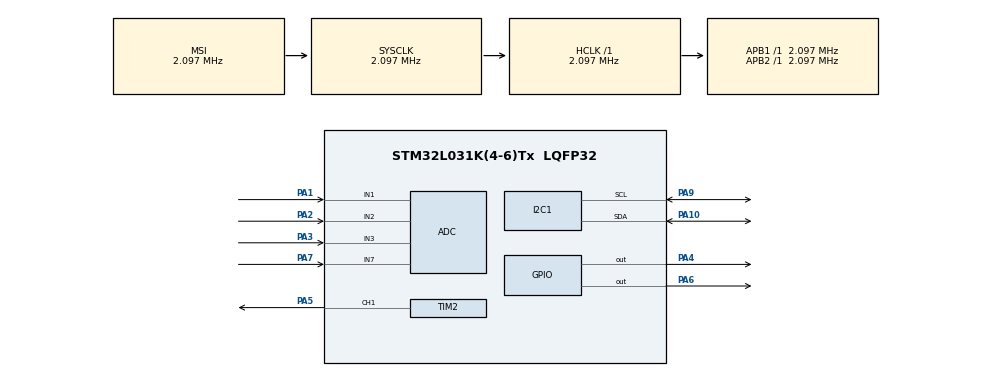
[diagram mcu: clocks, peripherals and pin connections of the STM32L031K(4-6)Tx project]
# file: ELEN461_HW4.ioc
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ADC.SamplingTime=ADC_SAMPLETIME_3CYCLES_5
Dma.ADC.0.Direction=DMA_PERIPH_TO_MEMORY
Dma.ADC.0.Instance=DMA1_Channel1
Dma.ADC.0.MemDataAlignment=DMA_MDATAALIGN_HALFWORD
Dma.ADC.0.MemInc=DMA_MINC_ENABLE
Dma.ADC.0.Mode=DMA_CIRCULAR
Dma.ADC.0.PeriphDataAlignment=DMA_PDATAALIGN_HALFWORD
Dma.ADC.0.PeriphInc=DMA_PINC_DISABLE
Dma.ADC.0.Priority=DMA_PRIORITY_LOW
Dma.Request0=ADC
Mcu.Family=STM32L0
Mcu.Name=STM32L031K(4-6)Tx
Mcu.Package=LQFP32
NVIC.ADC1_COMP_IRQn=true\:0\:0\:false\:false\:true\:true\:true
NVIC.DMA1_Channel1_IRQn=true\:0\:0\:false\:false\:true\:false\:true
PA1.Mode=IN1
PA1.Signal=ADC_IN1
PA10.Mode=I2C
PA10.Signal=I2C1_SDA
PA2.Mode=IN2
PA2.Signal=ADC_IN2
PA3.Mode=IN3
PA3.Signal=ADC_IN3
PA4.GPIO_PuPd=GPIO_PULLDOWN
PA4.Signal=GPIO_Output
PA5.Signal=S_TIM2_CH1
PA6.GPIO_PuPd=GPIO_PULLDOWN
PA6.Signal=GPIO_Output
PA7.Mode=IN7
PA7.Signal=ADC_IN7
PA9.Mode=I2C
PA9.Signal=I2C1_SCL
ProjectManager.HeapSize=0x200
ProjectManager.StackSize=0x400
ProjectManager.TargetToolchain=EWARM V8.32
RCC.AHBFreq_Value=2097000
RCC.APB1Freq_Value=2097000
RCC.APB1TimFreq_Value=2097000
RCC.APB2Freq_Value=2097000
RCC.APB2TimFreq_Value=2097000
RCC.HSE_VALUE=8000000
RCC.HSI16_VALUE=16000000
RCC.HSI_VALUE=16000000
RCC.LSE_VALUE=32768
RCC.MSI_VALUE=2097000
RCC.SYSCLKFreq_VALUE=2097000
RCC.VCOOutputFreq_Value=48000000
SH.S_TIM2_CH1.0=TIM2_CH1,PWM Generation1 CH1
TIM2.Channel-PWM\ Generation1\ CH1=TIM_CHANNEL_1
board=custom

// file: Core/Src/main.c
/* USER CODE BEGIN Header */
/**
  ******************************************************************************
  * @file           : main.c
  * @brief          : Main program body
  ******************************************************************************
  * @attention
  *
  * <h2><center>&copy; Copyright (c) 2022 STMicroelectronics.
  * All rights reserved.</center></h2>
  *
  * This software component is licensed by ST under BSD 3-Clause license,
  * the "License"; You may not use this file except in compliance with the
  * License. You may obtain a copy of the License at:
  *                        opensource.org/licenses/BSD-3-Clause
  *
  ******************************************************************************
  */
/* USER CODE END Header */
#include "main.h"

/* USER CODE BEGIN Includes */
#include "fonts.h"
#include "ssd1306.h"
#include "ux_manager.h"
/* USER CODE END Includes */

/* USER CODE BEGIN PD */
#define ADC_BUFFER_SIZE         100
#define ADC_INDEX_TEMP          2
#define ADC_INDEX_LOW           0
#define ADC_INDEX_MID           3
#define ADC_INDEX_HIGH          1
#define LOGIC_T1_BUFF_SIZE      50
#define LOGIC_T2_BUFF_SIZE      50
#define LOGIC_T3_BUFF_SIZE      50
#define LOGIC_T1_PIN            GPIOA, GPIO_PIN_12
#define LOGIC_T2_PIN            GPIOB, GPIO_PIN_0
#define LOGIC_T3_PIN            GPIOB, GPIO_PIN_7
#define LOGIC_HEATER_PIN        GPIOA, GPIO_PIN_5
#define LOGIC_GREEN_PIN         GPIOA, GPIO_PIN_4
#define LOGIC_RED_PIN           GPIOA, GPIO_PIN_6
#define HEATER_OFF_STATE              0
#define HEATER_ON_STATE               1
#define HEATER_RANGE            20      // Range of temperature chamber in F
#define ERROR_BUFF_SIZE         2
#define SAMPLE_INTERVAL         0.025   // Time in seconds between error captures
/* USER CODE END PD */

ADC_HandleTypeDef hadc;
DMA_HandleTypeDef hdma_adc;

I2C_HandleTypeDef hi2c1;

TIM_HandleTypeDef htim2;

/* USER CODE BEGIN PV */
// Scheduler Variables
extern uint8_t ten_mS_Flag;
extern uint8_t twentyfive_mS_Flag;
extern uint8_t hundred_mS_Flag;
extern uint8_t one_S_Flag;
extern uint8_t five_hundred_mS_Flag;

// ADC Variables
const uint8_t gain = 2;
uint16_t adcValue[4];
uint16_t adcBuffer[ADC_BUFFER_SIZE];
uint16_t adcAvg;
float tempInC;
float tempF;
float voltageInmV;

// Controller
uint8_t inputs;
uint8_t t1;
uint8_t t2;
uint8_t t3;
uint8_t heaterState;
uint8_t greenOutput;
uint8_t redOutput;
uint8_t initialFlag;

uint16_t t1Buffer[LOGIC_T1_BUFF_SIZE];
uint16_t t2Buffer[LOGIC_T2_BUFF_SIZE];
uint16_t t3Buffer[LOGIC_T3_BUFF_SIZE];
uint16_t t1Avg;
uint16_t t2Avg;
uint16_t t3Avg;
uint32_t HeaterPWMDuty;
float tempThreshLowF;
float tempDesired;
float tempThreshHighF;
float tempError;
float tempErrorLast;
float errorBuff[ERROR_BUFF_SIZE];
const float kp = 2.0;
const float ki = 0.05;
const float kd = 2.0;
const float kff = 1.5;
float proportional;
float integral;
float differentiator;
float sum;
float feedforward;

// Display Varaibles
DWfloat temperature = {"%4.1f ", "----", 0, 0, true, 25.0};
DWfloat tempThreshLow = {"%4.1f ", "----", 0, 0, true, 25.0};
DWfloat tempThreshMid = {"%4.1f ", "----", 0, 0, true, 25.0};
DWfloat tempThreshHigh = {"%4.1f ", "----", 0, 0, true, 25.0};
DWstring units = {"%s", "----", 0, 0, true, "DegC"};
uint8_t unitChoices[2][5] = {"DegF", "DegC"};

/* USER CODE END PV */

void SystemClock_Config(void);
static void MX_GPIO_Init(void);
static void MX_DMA_Init(void);
static void MX_ADC_Init(void);
static void MX_I2C1_Init(void);
static void MX_TIM2_Init(void);
/* USER CODE BEGIN PFP */
void Update_TempC(void);
void Update_ADCBuff(uint16_t value);
float Calc_Temp_Thresh(uint16_t adcCounts);
float Calc_Temp_Thresh_Low(uint16_t adcCounts);
float Calc_Temp_Thresh_High(uint16_t adcCounts);
void Update_T1_Buff(uint16_t value);
void Update_T2_Buff(uint16_t value);
void Update_T3_Buff(uint16_t value);
void Update_T1_Avg(void);
void Update_T2_Avg(void);
void Update_T3_Avg(void);
void Heater_Calc_Duty(float temp);
void Heater_Set_Duty(uint32_t counts);
void Update_Error_Buff(float error);
void Update_Error_Controller(void);
/* USER CODE END PFP */

int main(void)
{

  /* MCU Configuration--------------------------------------------------------*/

  /* Reset of all peripherals, Initializes the Flash interface and the Systick. */
  HAL_Init();

  /* Configure the system clock */
  SystemClock_Config();

  /* Initialize all configured peripherals */
  MX_GPIO_Init();
  MX_DMA_Init();
  MX_ADC_Init();
  MX_I2C1_Init();
  MX_TIM2_Init();
  /* USER CODE BEGIN 2 */

  SSD1306_Init();  // initialise

  adcBuffer[0] = 0;
  adcBuffer[1] = 0;
  adcBuffer[2] = 0;

  // Start PWM Timer
  HAL_TIM_PWM_Start_IT(&htim2, TIM_CHANNEL_1);

  // Splash Screen
  SSD1306_Clear();
  SSD1306_GotoXY (0,0);
  SSD1306_Puts ("Welcome to", &Font_11x18, SSD1306_COLOR_WHITE);
  SSD1306_GotoXY (0,20);
  SSD1306_Puts ("The Thermal", &Font_11x18, SSD1306_COLOR_WHITE);
  SSD1306_GotoXY (0,40);
  SSD1306_Puts ("Chamber!", &Font_11x18, SSD1306_COLOR_WHITE);
  SSD1306_UpdateScreen();

  HAL_Delay (3000);

  SwitchScreens(HOME);

  /* USER CODE END 2 */

  /* Infinite loop */
  /* USER CODE BEGIN WHILE */
  while (1)
  {

    // 10 ms scheduler
    if(ten_mS_Flag) {
      ten_mS_Flag = false;

      // Update Threshold buffers
      Update_T1_Buff(adcValue[ADC_INDEX_LOW]);
      Update_T2_Buff(adcValue[ADC_INDEX_MID]);
      Update_T3_Buff(adcValue[ADC_INDEX_HIGH]);

      // Update output variables
      heaterState = (!t2)*(!t3)*(!((!heaterState)*(t1)));
      greenOutput = !t1;
      redOutput = t3;

    }

    // 25 ms scheduler
    if(twentyfive_mS_Flag) {
      twentyfive_mS_Flag = false;

      // Check thresholds
      t1 = (tempF > tempThreshLowF);
      t2 = (tempF > tempDesired);
      t3 = (tempF > tempThreshHighF);
      //inputs = (t3 << 2) | (t2 << 1) | (t1 << 0);

      // Don't start heater until temp spike on startup winds down
      if(heaterState) {initialFlag = true;}
      if(initialFlag) {
      // Update PWM duty
        Heater_Calc_Duty(sum);
        // Set PWM duty cycle
        Heater_Set_Duty(HeaterPWMDuty);
      }

      // Update output pins
      // Heater output

      /*
      if(heaterState) {
        // Update PWM duty
        Heater_Calc_Duty(sum);
        // Set PWM duty cycle
        Heater_Set_Duty(HeaterPWMDuty);
      }
      else {
        Heater_Set_Duty(0);
      }

      // Red output
      if(redOutput) {
        HAL_GPIO_WritePin(LOGIC_RED_PIN, GPIO_PIN_SET);
      }
      else {
        HAL_GPIO_WritePin(LOGIC_RED_PIN, GPIO_PIN_RESET);
      }

      // Green output
      if(greenOutput) {
        HAL_GPIO_WritePin(LOGIC_GREEN_PIN, GPIO_PIN_SET);
      }
      else {
        HAL_GPIO_WritePin(LOGIC_GREEN_PIN, GPIO_PIN_RESET);
      }
      */
    }

    // 100 ms scheduler

    if(hundred_mS_Flag) {
      hundred_mS_Flag = false;

      // Update Temp value in C
      Update_TempC();

      // convert temp to F
      tempF = tempInC*(9.0/5.0) + 32.0;
      temperature.data = tempF;

      // Update error and sum
      tempErrorLast = tempError;
      tempError = tempDesired - tempF;
      Update_Error_Controller();
    }

    // 500 ms scheduler
    if(five_hundred_mS_Flag){
      five_hundred_mS_Flag = false;

      // Change units to F
      units.data[3] = 'F';

      // Update threshold values
      Update_T1_Avg();
      Update_T2_Avg();
      Update_T3_Avg();
      tempThreshLowF = Calc_Temp_Thresh_Low(t1Avg);
      tempThreshLow.data = tempThreshLowF;
      tempDesired = Calc_Temp_Thresh(t2Avg);
      tempThreshMid.data = tempDesired;
      tempThreshHighF = Calc_Temp_Thresh_High(t3Avg);
      tempThreshHigh.data = tempThreshHighF;

      // Update display;
      UpdateScreenValues();
    }

    // 1 second scheduler
    if(one_S_Flag) {
      one_S_Flag = false;

    }

    // Every loop

    // Read ADC and update buffer
      HAL_ADC_Start_DMA(&hadc, (uint32_t *) adcValue, 4);
      Update_ADCBuff(adcValue[ADC_INDEX_TEMP]);

    /* USER CODE END WHILE */

  }
}

void SystemClock_Config(void)
{
  RCC_OscInitTypeDef RCC_OscInitStruct = {0};
  RCC_ClkInitTypeDef RCC_ClkInitStruct = {0};
  RCC_PeriphCLKInitTypeDef PeriphClkInit = {0};

  /** Configure the main internal regulator output voltage
  */
  __HAL_PWR_VOLTAGESCALING_CONFIG(PWR_REGULATOR_VOLTAGE_SCALE1);
  /** Initializes the RCC Oscillators according to the specified parameters
  * in the RCC_OscInitTypeDef structure.
  */
  RCC_OscInitStruct.OscillatorType = RCC_OSCILLATORTYPE_MSI;
  RCC_OscInitStruct.MSIState = RCC_MSI_ON;
  RCC_OscInitStruct.MSICalibrationValue = 0;
  RCC_OscInitStruct.MSIClockRange = RCC_MSIRANGE_5;
  RCC_OscInitStruct.PLL.PLLState = RCC_PLL_NONE;
  if (HAL_RCC_OscConfig(&RCC_OscInitStruct) != HAL_OK)
  {
    Error_Handler();
  }
  /** Initializes the CPU, AHB and APB buses clocks
  */
  RCC_ClkInitStruct.ClockType = RCC_CLOCKTYPE_HCLK|RCC_CLOCKTYPE_SYSCLK
                              |RCC_CLOCKTYPE_PCLK1|RCC_CLOCKTYPE_PCLK2;
  RCC_ClkInitStruct.SYSCLKSource = RCC_SYSCLKSOURCE_MSI;
  RCC_ClkInitStruct.AHBCLKDivider = RCC_SYSCLK_DIV1;
  RCC_ClkInitStruct.APB1CLKDivider = RCC_HCLK_DIV1;
  RCC_ClkInitStruct.APB2CLKDivider = RCC_HCLK_DIV1;

  if (HAL_RCC_ClockConfig(&RCC_ClkInitStruct, FLASH_LATENCY_0) != HAL_OK)
  {
    Error_Handler();
  }
  PeriphClkInit.PeriphClockSelection = RCC_PERIPHCLK_I2C1;
  PeriphClkInit.I2c1ClockSelection = RCC_I2C1CLKSOURCE_PCLK1;
  if (HAL_RCCEx_PeriphCLKConfig(&PeriphClkInit) != HAL_OK)
  {
    Error_Handler();
  }
}

static void MX_ADC_Init(void)
{

  ADC_ChannelConfTypeDef sConfig = {0};

  /** Configure the global features of the ADC (Clock, Resolution, Data Alignment and number of conversion)
  */
  hadc.Instance = ADC1;
  hadc.Init.OversamplingMode = DISABLE;
  hadc.Init.ClockPrescaler = ADC_CLOCK_SYNC_PCLK_DIV1;
  hadc.Init.Resolution = ADC_RESOLUTION_12B;
  hadc.Init.SamplingTime = ADC_SAMPLETIME_3CYCLES_5;
  hadc.Init.ScanConvMode = ADC_SCAN_DIRECTION_FORWARD;
  hadc.Init.DataAlign = ADC_DATAALIGN_RIGHT;
  hadc.Init.ContinuousConvMode = DISABLE;
  hadc.Init.DiscontinuousConvMode = DISABLE;
  hadc.Init.ExternalTrigConvEdge = ADC_EXTERNALTRIGCONVEDGE_NONE;
  hadc.Init.ExternalTrigConv = ADC_SOFTWARE_START;
  hadc.Init.DMAContinuousRequests = DISABLE;
  hadc.Init.EOCSelection = ADC_EOC_SINGLE_CONV;
  hadc.Init.Overrun = ADC_OVR_DATA_PRESERVED;
  hadc.Init.LowPowerAutoWait = DISABLE;
  hadc.Init.LowPowerFrequencyMode = ENABLE;
  hadc.Init.LowPowerAutoPowerOff = DISABLE;
  if (HAL_ADC_Init(&hadc) != HAL_OK)
  {
    Error_Handler();
  }
  /** Configure for the selected ADC regular channel to be converted.
  */
  sConfig.Channel = ADC_CHANNEL_1;
  sConfig.Rank = ADC_RANK_CHANNEL_NUMBER;
  if (HAL_ADC_ConfigChannel(&hadc, &sConfig) != HAL_OK)
  {
    Error_Handler();
  }
  /** Configure for the selected ADC regular channel to be converted.
  */
  sConfig.Channel = ADC_CHANNEL_2;
  if (HAL_ADC_ConfigChannel(&hadc, &sConfig) != HAL_OK)
  {
    Error_Handler();
  }
  /** Configure for the selected ADC regular channel to be converted.
  */
  sConfig.Channel = ADC_CHANNEL_3;
  if (HAL_ADC_ConfigChannel(&hadc, &sConfig) != HAL_OK)
  {
    Error_Handler();
  }
  /** Configure for the selected ADC regular channel to be converted.
  */
  sConfig.Channel = ADC_CHANNEL_7;
  if (HAL_ADC_ConfigChannel(&hadc, &sConfig) != HAL_OK)
  {
    Error_Handler();
  }

}

static void MX_I2C1_Init(void)
{

  hi2c1.Instance = I2C1;
  hi2c1.Init.Timing = 0x00000708;
  hi2c1.Init.OwnAddress1 = 0;
  hi2c1.Init.AddressingMode = I2C_ADDRESSINGMODE_7BIT;
  hi2c1.Init.DualAddressMode = I2C_DUALADDRESS_DISABLE;
  hi2c1.Init.OwnAddress2 = 0;
  hi2c1.Init.OwnAddress2Masks = I2C_OA2_NOMASK;
  hi2c1.Init.GeneralCallMode = I2C_GENERALCALL_DISABLE;
  hi2c1.Init.NoStretchMode = I2C_NOSTRETCH_DISABLE;
  if (HAL_I2C_Init(&hi2c1) != HAL_OK)
  {
    Error_Handler();
  }
  /** Configure Analogue filter
  */
  if (HAL_I2CEx_ConfigAnalogFilter(&hi2c1, I2C_ANALOGFILTER_ENABLE) != HAL_OK)
  {
    Error_Handler();
  }
  /** Configure Digital filter
  */
  if (HAL_I2CEx_ConfigDigitalFilter(&hi2c1, 0) != HAL_OK)
  {
    Error_Handler();
  }

}

static void MX_TIM2_Init(void)
{

  TIM_MasterConfigTypeDef sMasterConfig = {0};
  TIM_OC_InitTypeDef sConfigOC = {0};

  htim2.Instance = TIM2;
  htim2.Init.Prescaler = 0;
  htim2.Init.CounterMode = TIM_COUNTERMODE_UP;
  htim2.Init.Period = 65535;
  htim2.Init.ClockDivision = TIM_CLOCKDIVISION_DIV1;
  htim2.Init.AutoReloadPreload = TIM_AUTORELOAD_PRELOAD_DISABLE;
  if (HAL_TIM_PWM_Init(&htim2) != HAL_OK)
  {
    Error_Handler();
  }
  sMasterConfig.MasterOutputTrigger = TIM_TRGO_RESET;
  sMasterConfig.MasterSlaveMode = TIM_MASTERSLAVEMODE_DISABLE;
  if (HAL_TIMEx_MasterConfigSynchronization(&htim2, &sMasterConfig) != HAL_OK)
  {
    Error_Handler();
  }
  sConfigOC.OCMode = TIM_OCMODE_PWM1;
  sConfigOC.Pulse = 0;
  sConfigOC.OCPolarity = TIM_OCPOLARITY_HIGH;
  sConfigOC.OCFastMode = TIM_OCFAST_DISABLE;
  if (HAL_TIM_PWM_ConfigChannel(&htim2, &sConfigOC, TIM_CHANNEL_1) != HAL_OK)
  {
    Error_Handler();
  }
  HAL_TIM_MspPostInit(&htim2);

}

static void MX_DMA_Init(void)
{

  /* DMA controller clock enable */
  __HAL_RCC_DMA1_CLK_ENABLE();

  /* DMA interrupt init */
  /* DMA1_Channel1_IRQn interrupt configuration */
  HAL_NVIC_SetPriority(DMA1_Channel1_IRQn, 0, 0);
  HAL_NVIC_EnableIRQ(DMA1_Channel1_IRQn);

}

static void MX_GPIO_Init(void)
{
  GPIO_InitTypeDef GPIO_InitStruct = {0};

  /* GPIO Ports Clock Enable */
  __HAL_RCC_GPIOA_CLK_ENABLE();

  /*Configure GPIO pin Output Level */
  HAL_GPIO_WritePin(GPIOA, GPIO_PIN_4|GPIO_PIN_5|GPIO_PIN_6, GPIO_PIN_RESET);

  /*Configure GPIO pins : PA4 PA5 PA6 */
  GPIO_InitStruct.Pin = GPIO_PIN_4|GPIO_PIN_5|GPIO_PIN_6;
  GPIO_InitStruct.Mode = GPIO_MODE_OUTPUT_PP;
  GPIO_InitStruct.Pull = GPIO_PULLDOWN;
  GPIO_InitStruct.Speed = GPIO_SPEED_FREQ_LOW;
  HAL_GPIO_Init(GPIOA, &GPIO_InitStruct);

}

/* USER CODE BEGIN 4 */
void Update_ADCBuff(uint16_t value){

  // Shift values of the buffer
  for(uint8_t i = 1; i < ADC_BUFFER_SIZE; i++) {
    adcBuffer[i-1] = adcBuffer[i];
  }

  // Place new value at end of ADC buffer;
  adcBuffer[ADC_BUFFER_SIZE-1] = value;
}

void Update_TempC(void) {
  uint32_t temp;
  for(uint8_t i = 0; i < ADC_BUFFER_SIZE; i++) {
    temp += adcBuffer[i];
  }
  adcAvg = temp / ADC_BUFFER_SIZE;

  voltageInmV = (adcAvg/4096.0)*3300.0;

  // Based on 0C-100C range
  tempInC = (voltageInmV-1567.0)/(-8.2);

}

float Calc_Temp_Thresh(uint16_t adcCounts) {

  return ((adcCounts/4096.0)*60.0)+60.0;
}

float Calc_Temp_Thresh_Low(uint16_t adcCounts) {

  return tempDesired - ((adcCounts/4096.0)*10.0);
}

float Calc_Temp_Thresh_High(uint16_t adcCounts) {

  return tempDesired + ((adcCounts/4096.0)*10.0);
}

void Update_T1_Buff(uint16_t value){

  // Shift values of the buffer
  for(uint8_t i = 1; i < LOGIC_T1_BUFF_SIZE; i++) {
    t1Buffer[i-1] = t1Buffer[i];
  }

  // Place new value at end of buffer;
  t1Buffer[LOGIC_T1_BUFF_SIZE-1] = value;
}

void Update_T2_Buff(uint16_t value){

  // Shift values of the buffer
  for(uint8_t i = 1; i < LOGIC_T2_BUFF_SIZE; i++) {
    t2Buffer[i-1] = t2Buffer[i];
  }

  // Place new value at end of buffer;
  t2Buffer[LOGIC_T2_BUFF_SIZE-1] = value;
}

void Update_T3_Buff(uint16_t value){

  // Shift values of the buffer
  for(uint8_t i = 1; i < LOGIC_T3_BUFF_SIZE; i++) {
    t3Buffer[i-1] = t3Buffer[i];
  }

  // Place new value at end of buffer;
  t3Buffer[LOGIC_T3_BUFF_SIZE-1] = value;
}

void Update_T1_Avg(void) {
  uint32_t temp;
  for(uint8_t i = 0; i < LOGIC_T1_BUFF_SIZE; i++) {
    temp += t1Buffer[i];
  }
  t1Avg = temp / LOGIC_T1_BUFF_SIZE;
}

void Update_T2_Avg(void) {
  uint32_t temp;
  for(uint8_t i = 0; i < LOGIC_T2_BUFF_SIZE; i++) {
    temp += t2Buffer[i];
  }
  t2Avg = temp / LOGIC_T2_BUFF_SIZE;
}

void Update_T3_Avg(void) {
  uint32_t temp;
  for(uint8_t i = 0; i < LOGIC_T3_BUFF_SIZE; i++) {
    temp += t3Buffer[i];
  }
  t3Avg = temp / LOGIC_T3_BUFF_SIZE;
}

void Heater_Calc_Duty(float error_temp) {
  float error;
  error = error_temp / HEATER_RANGE;
  if(error > 1) {error = 1.0;}
  else if(error < 0) {error = 0;}
  HeaterPWMDuty = (uint32_t) (error * 65535);
}

void Update_Error_Buff(float value) {
  // Shift values of the buffer
  for(uint8_t i = 1; i < ERROR_BUFF_SIZE; i++) {
    errorBuff[i-1] = errorBuff[i];
  }
  // Place new value at end of buffer;
  errorBuff[ERROR_BUFF_SIZE-1] = value;
}

void Update_Error_Controller(void) {

  proportional = kp * tempError;

  integral += ki * SAMPLE_INTERVAL * ((tempError+tempErrorLast)/2);

  differentiator = kd * ((tempError-tempErrorLast)/SAMPLE_INTERVAL);

  feedforward = kff * (tempDesired-70);

  // Proportional Control
  sum = proportional;

  // PD Control
  //sum = proportional + differentiator;

  // PI Control
  //sum = proportional + integral;

  // PID Control
  //sum = proportional + integral + differentiator;

  // Feed Forward and proportional
  //sum = proportional + feedforward;
}

void Heater_Set_Duty(uint32_t counts) {
  TIM_OC_InitTypeDef sConfigOC = {0};

  sConfigOC.OCMode = TIM_OCMODE_PWM1;
  sConfigOC.Pulse = counts;
  sConfigOC.OCPolarity = TIM_OCPOLARITY_HIGH;
  sConfigOC.OCFastMode = TIM_OCFAST_DISABLE;

  HAL_TIM_PWM_Stop(&htim2, TIM_CHANNEL_1);
  HAL_TIM_PWM_ConfigChannel(&htim2, &sConfigOC, TIM_CHANNEL_1);
  HAL_TIM_PWM_Start(&htim2, TIM_CHANNEL_1);
}
/* USER CODE END 4 */

void Error_Handler(void)
{
  __disable_irq();
  while (1)
  {
  }
}

/************************ (C) COPYRIGHT STMicroelectronics *****END OF FILE****/
